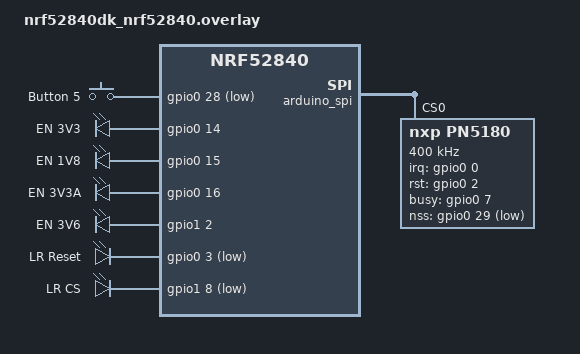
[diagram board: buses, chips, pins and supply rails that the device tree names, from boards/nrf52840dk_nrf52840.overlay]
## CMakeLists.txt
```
cmake_minimum_required(VERSION 3.20.0)

# Add the PN5180 driver module before finding Zephyr
list(APPEND EXTRA_ZEPHYR_MODULES ${CMAKE_CURRENT_SOURCE_DIR}/../pn5180)

find_package(Zephyr REQUIRED HINTS $ENV{ZEPHYR_BASE})

project(pn5180_nfc_app)

# Add source files
target_sources(app PRIVATE
    src/main.c
    src/power_ctrl.c
)

# Add include directories
target_include_directories(app PRIVATE
    ../pn5180/include
)
```

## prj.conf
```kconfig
# SPI Configuration
CONFIG_SPI=y

# GPIO Configuration
CONFIG_GPIO=y

# Logging
CONFIG_LOG=y
# CONFIG_SHELL=y
CONFIG_LOG_DEFAULT_LEVEL=3

# PN5180 Driver
CONFIG_PN5180=y
CONFIG_PN5180_LOG_LEVEL=3
CONFIG_PN5180_INIT_PRIORITY=80

# Threading support (these are enabled by default in Zephyr)
CONFIG_MULTITHREADING=y

# Enable button for testing
CONFIG_SPI_ASYNC=y
CONFIG_SPI_SLAVE=y
```

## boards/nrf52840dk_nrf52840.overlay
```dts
&arduino_spi {
	status = "okay";
	pn5180: pn5180@0 {
 		compatible = "nxp,pn5180";
		reg = <0>;
		spi-max-frequency = <400000>;
		irq-gpios = <&gpio0 0 GPIO_ACTIVE_HIGH>;
		rst-gpios = <&gpio0 2 GPIO_ACTIVE_HIGH>;
		busy-gpios = <&gpio0 7 GPIO_ACTIVE_HIGH>;
		nss-gpios = <&gpio0 29 GPIO_ACTIVE_LOW>;
		timeout-ms = <5000>;
	};
};

&uart0 {	
	status="disabled";
};	

&uart1 {	
	status="disabled";
};	
	

&spi1 {	
	status="disabled";
};	
	

/* Wake-up GPIO configuration */
/ {
	aliases {
		wakeup = &button5;
	};
	
	buttons {
		compatible = "gpio-keys";

        button5: button_5 {
            label = "Button 5";
            gpios = <&gpio0 28 (GPIO_ACTIVE_LOW | GPIO_PULL_UP)>;
        };

	};

	enables {
		compatible = "gpio-leds";

		en3v3: en3v3 {
			gpios = <&gpio0 14 GPIO_ACTIVE_HIGH>;
			label = "EN 3V3";
		};

		en1v8: en1v8 {
			gpios = <&gpio0 15 GPIO_ACTIVE_HIGH>;
			label = "EN 1V8";
		};

		en3v3a: en3v3a {
			gpios = <&gpio0 16 GPIO_ACTIVE_HIGH>;
			label = "EN 3V3A";
		};

		en3v6: en3v6 {
			gpios = <&gpio1 2 GPIO_ACTIVE_HIGH>;
			label = "EN 3V6";
		};

		lrreset: lrreset {
			gpios = <&gpio0 3 GPIO_ACTIVE_LOW>;
			label = "LR Reset";
		};

		lrcs: lrcs {
			gpios = <&gpio1 8 GPIO_ACTIVE_LOW>;
			label = "LR CS";
		};
	};
};
```

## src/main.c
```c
#include "pn5180.h"
#include "power_ctrl.h"
#include <stdbool.h>
#include <stdint.h>
#include <string.h>
#include <zephyr/device.h>
#include <zephyr/drivers/gpio.h>
#include <zephyr/kernel.h>
#include <zephyr/logging/log.h>
#include <zephyr/sys/printk.h>
#include <zephyr/sys/util.h>

LOG_MODULE_REGISTER(main, LOG_LEVEL_INF);

/* Thread stack sizes */
#define NFC_THREAD_STACK_SIZE 2048
#define PROCESSING_THREAD_STACK_SIZE 2048

/* Message queue for NFC events */
#define NFC_QUEUE_SIZE 10

/* Power management and wake-up configuration */
#define WAKE_UP_GPIO_NODE DT_ALIAS(wakeup)
#define WAKE_UP_GPIO_DEV DT_GPIO_CTLR(WAKE_UP_GPIO_NODE, gpios)
#define WAKE_UP_GPIO_PIN DT_GPIO_PIN(WAKE_UP_GPIO_NODE, gpios)
#define WAKE_UP_GPIO_FLAGS DT_GPIO_FLAGS(WAKE_UP_GPIO_NODE, gpios)

/* System states */
enum system_state {
  SYSTEM_SLEEP,
  SYSTEM_NFC_ACTIVE,
  SYSTEM_NFC_SCANNING,
  SYSTEM_NFC_PROCESSING
};

/* Message structure for NFC events */
struct nfc_event {
  enum { NFC_EVENT_TAG_DETECTED, NFC_EVENT_TAG_LOST, NFC_EVENT_ERROR } type;
  uint8_t uid[8];
  uint32_t timestamp;
};

/* Global variables */
static const struct device *pn5180_dev = DEVICE_DT_GET(DT_NODELABEL(pn5180));
static const struct device *wake_up_gpio_dev =
    DEVICE_DT_GET(DT_GPIO_CTLR(WAKE_UP_GPIO_NODE, gpios));
static const gpio_pin_t wake_up_pin = WAKE_UP_GPIO_PIN;
static const gpio_flags_t wake_up_flags = WAKE_UP_GPIO_FLAGS;

K_MSGQ_DEFINE(nfc_queue, sizeof(struct nfc_event), NFC_QUEUE_SIZE, 4);
K_MUTEX_DEFINE(nfc_mutex);
K_SEM_DEFINE(nfc_ready_sem, 0, 1);
K_SEM_DEFINE(wake_up_sem, 0, 1);
K_SEM_DEFINE(nfc_scan_complete_sem, 0, 1);

/* System state management */
static enum system_state current_state = SYSTEM_SLEEP;
static K_MUTEX_DEFINE(state_mutex);

/* GPIO callback structure */
static struct gpio_callback wake_up_cb;

/* Thread data structures */
static struct k_thread nfc_thread;
static struct k_thread processing_thread;
K_THREAD_STACK_DEFINE(nfc_thread_stack, NFC_THREAD_STACK_SIZE);
K_THREAD_STACK_DEFINE(processing_thread_stack, PROCESSING_THREAD_STACK_SIZE);

/* Custom tag processing functions */
static void process_tag_detected(uint8_t *uid, uint32_t timestamp);
static void process_tag_lost(uint32_t timestamp);
static bool is_authorized_tag(uint8_t *uid);
static void trigger_access_granted(void);
static void trigger_access_denied(void);
static void reset_access_state(void);
static void handle_application_logic(void);

/* Power management functions */
static void gpio_wake_up_callback(const struct device *dev,
                                  struct gpio_callback *cb, uint32_t pins);
static void set_system_state(enum system_state new_state);
static void enter_sleep_mode(void);
static void wake_up_nfc_system(void);
static void power_down_nfc_system(void);

/* NFC scanning thread - event-driven, wakes up on demand */
static void nfc_thread_entry(void *arg1, void *arg2, void *arg3) {
  uint8_t uid[8] = {0};
  struct nfc_event event;
  int ret;

  LOG_INF("NFC thread started");

  /* Wait for initialization to complete */
  k_sem_take(&nfc_ready_sem, K_FOREVER);

  while (1) {
    /* Wait for wake-up signal */
    k_sem_take(&wake_up_sem, K_FOREVER);

    LOG_INF("NFC system awakened - starting scan");
    set_system_state(SYSTEM_NFC_SCANNING);

    /* Perform NFC scan */
    k_mutex_lock(&nfc_mutex, K_FOREVER);
    ret = pn5180_get_inventory(pn5180_dev, uid, sizeof(uid));
    k_mutex_unlock(&nfc_mutex);

    if (ret == 0) {
      /* Tag detected */
      event.type = NFC_EVENT_TAG_DETECTED;
      memcpy(event.uid, uid, sizeof(uid));
      event.timestamp = k_uptime_get();

      if (k_msgq_put(&nfc_queue, &event, K_NO_WAIT) != 0) {
        LOG_WRN("NFC queue full, dropping tag detected event");
      }

      LOG_INF("Tag detected: %02X %02X %02X %02X %02X %02X %02X %02X", uid[0],
              uid[1], uid[2], uid[3], uid[4], uid[5], uid[6], uid[7]);

      set_system_state(SYSTEM_NFC_PROCESSING);

      /* Wait for processing to complete */
      k_sem_take(&nfc_scan_complete_sem, K_FOREVER);

    } else {
      LOG_INF("No tag detected");
    }

    /* Power down NFC system and return to sleep */
    power_down_nfc_system();
    set_system_state(SYSTEM_SLEEP);

    LOG_INF("NFC system returning to sleep");
  }
}

/* Tag processing thread - handles detected tags */
static void processing_thread_entry(void *arg1, void *arg2, void *arg3) {
  struct nfc_event event;

  LOG_INF("Processing thread started");

  while (1) {
    /* Wait for NFC events */
    if (k_msgq_get(&nfc_queue, &event, K_FOREVER) == 0) {
      switch (event.type) {
      case NFC_EVENT_TAG_DETECTED:
        LOG_INF("Processing tag: %02X %02X %02X %02X %02X %02X %02X %02X",
                event.uid[0], event.uid[1], event.uid[2], event.uid[3],
                event.uid[4], event.uid[5], event.uid[6], event.uid[7]);

        /* Your custom tag processing logic here */
        process_tag_detected(event.uid, event.timestamp);

        /* Signal that processing is complete */
        k_sem_give(&nfc_scan_complete_sem);
        break;

      case NFC_EVENT_TAG_LOST:
        LOG_INF("Tag lost at %u ms", event.timestamp);
        process_tag_lost(event.timestamp);
        break;

      case NFC_EVENT_ERROR:
        LOG_ERR("NFC error occurred");
        k_sem_give(&nfc_scan_complete_sem);
        break;
      }
    }
  }
}

/* Custom tag processing functions */
static void process_tag_detected(uint8_t *uid, uint32_t timestamp) {
  /* Example: Check if tag is authorized */
  if (is_authorized_tag(uid)) {
    LOG_INF("Authorized tag detected");
    /* Trigger access granted actions */
    trigger_access_granted();
  } else {
    LOG_WRN("Unauthorized tag detected");
    /* Trigger access denied actions */
    trigger_access_denied();
  }
}

static void process_tag_lost(uint32_t timestamp) {
  LOG_INF("Tag removed, resetting access state");
  /* Reset access control state */
  reset_access_state();
}

static bool is_authorized_tag(uint8_t *uid) {
  /* Example authorized UIDs - add your own authorized tags here */
  uint8_t authorized_uids[][8] = {
      {0xE0, 0x04, 0x01, 0x00, 0x88, 0x8C, 0x9C, 0xA5},
      {0x04, 0x11, 0x22, 0x33, 0x44, 0x55, 0x66, 0x77}};

  for (int i = 0; i < ARRAY_SIZE(authorized_uids); i++) {
    if (memcmp(uid, authorized_uids[i], 8) == 0) {
      return true;
    }
  }
  return false;
}

static void trigger_access_granted(void) {
  LOG_INF("*** ACCESS GRANTED ***");
  /* Add your access granted logic here */
  /* Examples: Turn on LED, unlock door, send notification, etc. */
}

static void trigger_access_denied(void) {
  LOG_INF("*** ACCESS DENIED ***");
  /* Add your access denied logic here */
  /* Examples: Turn on red LED, sound alarm, log attempt, etc. */
}

static void reset_access_state(void) {
  LOG_INF("Resetting access control state");
  /* Add your state reset logic here */
  /* Examples: Turn off LEDs, reset indicators, etc. */
}

static void handle_application_logic(void) {
  /* Main application logic that runs independently of NFC */
  /* Examples: Handle other sensors, network communication, etc. */
  static uint32_t counter = 0;
  counter++;

  if (counter % 10 == 0) {
    LOG_INF("Application running... (counter: %u)", counter);
  }
}

/* GPIO interrupt callback - wakes up the system */
static void gpio_wake_up_callback(const struct device *dev,
                                  struct gpio_callback *cb, uint32_t pins) {
  LOG_INF("Wake-up GPIO triggered!");

  /* Wake up the NFC system */
  k_sem_give(&wake_up_sem);
}

/* Set system state with logging */
static void set_system_state(enum system_state new_state) {
  k_mutex_lock(&state_mutex, K_FOREVER);

  const char *state_names[] = {"SLEEP", "NFC_ACTIVE", "NFC_SCANNING",
                               "NFC_PROCESSING"};

  LOG_INF("System state: %s -> %s", state_names[current_state],
          state_names[new_state]);

  current_state = new_state;
  k_mutex_unlock(&state_mutex);
}

/* Enter sleep mode */
static void enter_sleep_mode(void) {
  LOG_INF("Entering sleep mode");

  /* Configure wake-up GPIO interrupt */
  gpio_pin_interrupt_configure(wake_up_gpio_dev, wake_up_pin,
                               GPIO_INT_EDGE_TO_ACTIVE);

  set_system_state(SYSTEM_SLEEP);
}

/* Wake up NFC system */
static void wake_up_nfc_system(void) {
  LOG_INF("Waking up NFC system");

  /* Disable wake-up GPIO interrupt temporarily */
  gpio_pin_interrupt_configure(wake_up_gpio_dev, wake_up_pin, GPIO_INT_DISABLE);

  set_system_state(SYSTEM_NFC_ACTIVE);
}

/* Power down NFC system */
static void power_down_nfc_system(void) {
  LOG_INF("Powering down NFC system");

  /* Clean RF off / idle before returning to sleep */
  k_mutex_lock(&nfc_mutex, K_FOREVER);
  (void)pn5180_prepare_poweroff(pn5180_dev);
  k_mutex_unlock(&nfc_mutex);
}

int main(void) {
  int ret;

  LOG_INF("PN5180 Power-Efficient RTOS Application Starting...");

  /* Initialize power control and enable all rails */
  ret = power_ctrl_init();
  if (ret != 0) {
    LOG_ERR("Failed to initialize power control: %d", ret);
    return ret;
  }

  /* Enable all power rails with sequencing delays */
  LOG_INF("Enabling power rails...");

  ret = power_ctrl_set(POWER_EN_3V3, true);
  if (ret != 0) {
    LOG_ERR("Failed to enable 3V3 rail: %d", ret);
    return ret;
  }
  k_msleep(10);

  ret = power_ctrl_set(POWER_EN_1V8, true);
  if (ret != 0) {
    LOG_ERR("Failed to enable 1V8 rail: %d", ret);
    return ret;
  }
  k_msleep(10);

  ret = power_ctrl_set(POWER_EN_3V3A, true);
  if (ret != 0) {
    LOG_ERR("Failed to enable 3V3A rail: %d", ret);
    return ret;
  }
  k_msleep(10);

  ret = power_ctrl_set(POWER_EN_3V6, true);
  if (ret != 0) {
    LOG_ERR("Failed to enable 3V6 rail: %d", ret);
    return ret;
  }
  k_msleep(50); /* Allow rails to stabilize */

  LOG_INF("All power rails enabled");

  /* Configure LR Reset and CS pins */
  // ret = power_ctrl_set(POWER_LR_RESET, true); /* Hold in reset initially */
  // if (ret != 0) {
  //   LOG_ERR("Failed to set LR Reset: %d", ret);
  //   return ret;
  // }

  // ret = power_ctrl_set(POWER_LR_CS,
  //                      false); /* Deselect CS (active low typically) */

  // if (ret != 0) {
  //   LOG_ERR("Failed to set LR CS: %d", ret);
  //   return ret;
  // }

  LOG_INF("LR Reset and CS pins configured");

  /* Check if devices are ready */
  if (!device_is_ready(pn5180_dev)) {
    LOG_ERR("PN5180 device not ready");
    return -ENODEV;
  }

  if (!device_is_ready(wake_up_gpio_dev)) {
    LOG_ERR("Wake-up GPIO device not ready");
    return -ENODEV;
  }

  /* Initialize the NFC driver */
  if (pn5180_init(pn5180_dev) != 0) {
    LOG_ERR("Failed to initialize PN5180");
    return -EIO;
  }

  /* Configure for ISO15693 protocol */
  if (pn5180_configure(pn5180_dev, PN5180_PROTOCOL_ISO15693) != 0) {
    LOG_ERR("Failed to configure PN5180");
    return -EIO;
  }

  /* Configure wake-up GPIO */
  ret = gpio_pin_configure(wake_up_gpio_dev, wake_up_pin,
                           GPIO_INPUT | wake_up_flags);
  if (ret) {
    LOG_ERR("Failed to configure wake-up GPIO: %d", ret);
    return ret;
  }

  /* Set up GPIO interrupt callback */
  gpio_init_callback(&wake_up_cb, gpio_wake_up_callback, BIT(wake_up_pin));
  gpio_add_callback(wake_up_gpio_dev, &wake_up_cb);

  LOG_INF("PN5180 and wake-up GPIO initialized");

  /* Create NFC scanning thread */
  k_thread_create(&nfc_thread, nfc_thread_stack,
                  K_THREAD_STACK_SIZEOF(nfc_thread_stack), nfc_thread_entry,
                  NULL, NULL, NULL, K_PRIO_COOP(7), 0, K_NO_WAIT);
  k_thread_name_set(&nfc_thread, "nfc_scanner");

  /* Create tag processing thread */
  k_thread_create(&processing_thread, processing_thread_stack,
                  K_THREAD_STACK_SIZEOF(processing_thread_stack),
                  processing_thread_entry, NULL, NULL, NULL, K_PRIO_COOP(6), 0,
                  K_NO_WAIT);
  k_thread_name_set(&processing_thread, "tag_processor");

  /* Signal that NFC is ready */
  k_sem_give(&nfc_ready_sem);

  LOG_INF("All threads started, entering sleep mode");

  /* Enter sleep mode initially */
  enter_sleep_mode();

  /* Main thread handles power management */
  while (1) {
    /* Handle other application logic when not sleeping */
    if (current_state != SYSTEM_SLEEP) {
      handle_application_logic();
    }

    /* Sleep for a short time to allow other threads to run */
    k_msleep(100);
  }

  return 0;
}
```

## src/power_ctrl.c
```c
#include "power_ctrl.h"

#include <zephyr/device.h>
#include <zephyr/devicetree.h>
#include <zephyr/drivers/gpio.h>
#include <zephyr/kernel.h>
#include <zephyr/logging/log.h>
#include <zephyr/sys/util.h>

LOG_MODULE_REGISTER(power_ctrl, LOG_LEVEL_INF);

#define EN3V3_NODE DT_NODELABEL(en3v3)
#define EN1V8_NODE DT_NODELABEL(en1v8)
#define EN3V3A_NODE DT_NODELABEL(en3v3a)
#define EN3V6_NODE DT_NODELABEL(en3v6)
#define LR_RESET_NODE DT_NODELABEL(lrreset)
#define LR_CS_NODE DT_NODELABEL(lrcs)

static const struct gpio_dt_spec power_gpios[POWER_DOMAIN_COUNT] = {
    GPIO_DT_SPEC_GET_OR(EN3V3_NODE, gpios, {0}),
    GPIO_DT_SPEC_GET_OR(EN1V8_NODE, gpios, {0}),
    GPIO_DT_SPEC_GET_OR(EN3V3A_NODE, gpios, {0}),
    GPIO_DT_SPEC_GET_OR(EN3V6_NODE, gpios, {0}),
    GPIO_DT_SPEC_GET_OR(LR_RESET_NODE, gpios, {0}),
    GPIO_DT_SPEC_GET_OR(LR_CS_NODE, gpios, {0}),
};

int power_ctrl_init(void) {
  int ret;

  for (int i = 0; i < POWER_DOMAIN_COUNT; i++) {
    if (!gpio_is_ready_dt(&power_gpios[i])) {
      LOG_ERR("Power GPIO %d device %s not ready", i,
              power_gpios[i].port->name);
      return -ENODEV;
    }

    ret = gpio_pin_configure_dt(&power_gpios[i], GPIO_OUTPUT_INACTIVE);
    if (ret != 0) {
      LOG_ERR("Failed to configure power GPIO %d", i);
      return ret;
    }

    LOG_INF("Initialized power GPIO %d on %s pin %d", i,
            power_gpios[i].port->name, power_gpios[i].pin);
  }

  return 0;
}

int power_ctrl_set(enum power_domain domain, bool enable) {
  if (domain < 0 || domain >= POWER_DOMAIN_COUNT) {
    return -EINVAL;
  }

  return gpio_pin_set_dt(&power_gpios[domain], enable);
}

int power_ctrl_toggle(enum power_domain domain) {
  if (domain < 0 || domain >= POWER_DOMAIN_COUNT) {
    return -EINVAL;
  }

  return gpio_pin_toggle_dt(&power_gpios[domain]);
}
```

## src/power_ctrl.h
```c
#ifndef POWER_CTRL_H
#define POWER_CTRL_H

#include <stdbool.h>

enum power_domain {
  POWER_EN_3V3 = 0,
  POWER_EN_1V8,
  POWER_EN_3V3A,
  POWER_EN_3V6,
  POWER_LR_RESET,
  POWER_LR_CS,
  POWER_DOMAIN_COUNT,
};

int power_ctrl_init(void);
int power_ctrl_set(enum power_domain domain, bool enable);
int power_ctrl_toggle(enum power_domain domain);

#endif /* POWER_CTRL_H */
```
